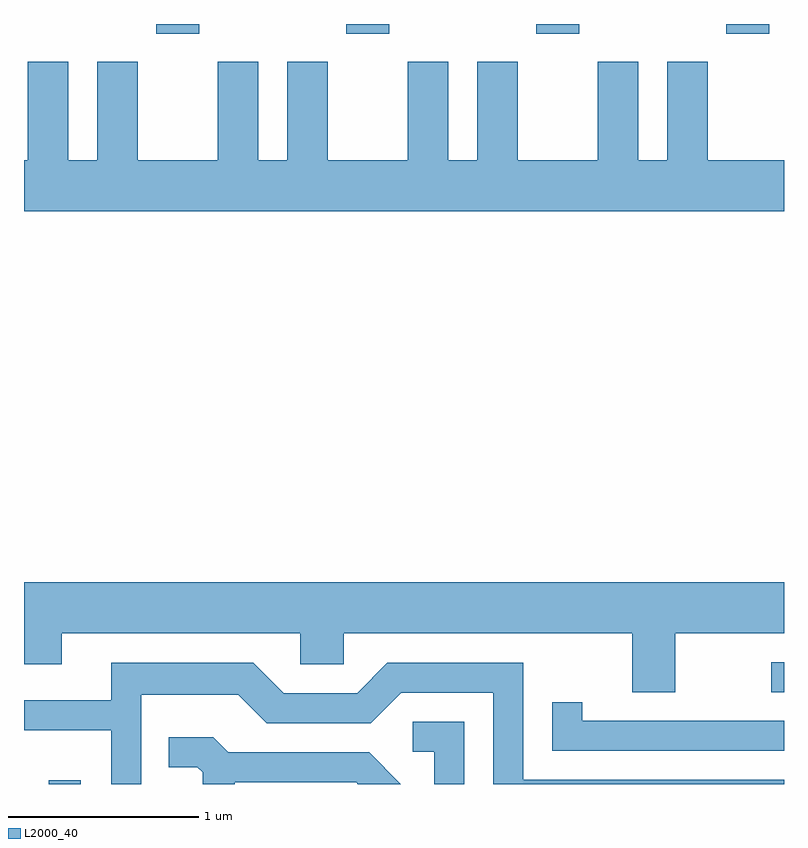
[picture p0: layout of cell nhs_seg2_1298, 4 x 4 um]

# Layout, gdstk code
import gdstk
lib = gdstk.Library(unit=1e-6, precision=1e-09)
def R(c, l, rs):  # rectangles x0, y0, x1, y1
    for r in rs: c.add(gdstk.rectangle(r[:2], r[2:], *l))
def A(c, l, x, y, w, h, nx, ny, dx, dy):  # array of equal rectangles
    R(c, l, [(x+i*dx, y+j*dy, x+i*dx+w, y+j*dy+h) for i in range(nx) for j in range(ny)])
def P(c, l, *ps):  # polygons
    for p in ps: c.add(gdstk.Polygon(p, *l))
L2000_40 = (2000, 40)

nhs_seg2_1298 = lib.new_cell('nhs_seg2_1298')
A(nhs_seg2_1298, L2000_40, 224.306, 993.751, 0.228, 0.051, 4, 1, 1, 0)
R(nhs_seg2_1298, L2000_40, [(223.741,989.802,223.909,989.823), (227.543,990.286,227.611,990.444)])
P(nhs_seg2_1298, L2000_40, [(227.611,993.084),(227.209,993.084),(227.209,993.604),(226.996,993.604),(226.996,993.084),(226.844,993.084),(226.844,993.604),(226.631,993.604),(226.631,993.084),(226.209,993.084),(226.209,993.604),(225.996,993.604),(225.996,993.084),(225.844,993.084),(225.844,993.604),(225.631,993.604),(225.631,993.084),(225.209,993.084),(225.209,993.604),(224.996,993.604),(224.996,993.084),(224.844,993.084),(224.844,993.604),(224.631,993.604),(224.631,993.084),(224.209,993.084),(224.209,993.604),(223.996,993.604),(223.996,993.084),(223.844,993.084),(223.844,993.604),(223.631,993.604),(223.631,993.084),(223.611,993.084),(223.611,992.816),(227.611,992.816)],
  [(227.039,990.596),(227.611,990.596),(227.611,990.864),(223.611,990.864),(223.611,990.431),(223.809,990.431),(223.809,990.596),(225.066,990.596),(225.066,990.431),(225.294,990.431),(225.294,990.596),(226.811,990.596),(226.811,990.286),(227.039,990.286)],
  [(224.229,990.271),(224.739,990.271),(224.889,990.121),(225.437,990.121),(225.597,990.281),(226.081,990.281),(226.081,989.802),(227.611,989.802),(227.611,989.824),(226.239,989.824),(226.239,990.439),(225.524,990.439),(225.364,990.279),(224.977,990.279),(224.817,990.439),(224.071,990.439),(224.071,990.244),(223.611,990.244),(223.611,990.086),(224.071,990.086),(224.071,989.802),(224.229,989.802)],
  [(227.611,990.134),(226.549,990.134),(226.549,990.233),(226.391,990.233),(226.391,989.976),(227.611,989.976)],
  [(225.929,990.129),(225.658,990.129),(225.658,989.971),(225.771,989.971),(225.771,989.802),(225.929,989.802)],
  [(224.719,989.811),(225.359,989.811),(225.368,989.802),(225.594,989.802),(225.427,989.969),(224.687,989.969),(224.607,990.049),(224.373,990.049),(224.373,989.891),(224.524,989.891),(224.551,989.864),(224.551,989.802),(224.719,989.802)])

lib.write_gds('nhs_seg2_1298.gds')
